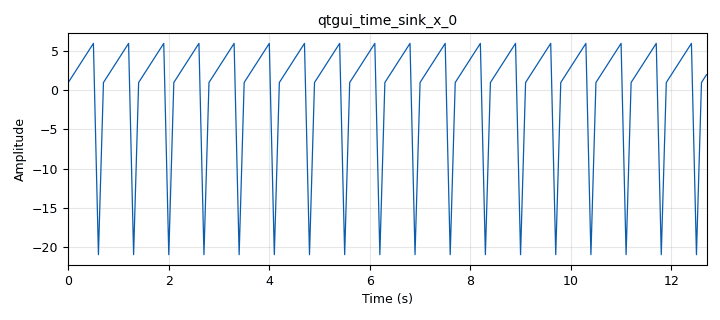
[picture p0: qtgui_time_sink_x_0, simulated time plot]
options:
  parameters:
    generate_options: qt_gui
    id: test1
    output_language: python
    title: Not titled yet
  states: {}

blocks:
- name: samp_rate
  id: variable
  parameters:
    value: '10'
  states: {}
- name: blocks_throttle_0
  id: blocks_throttle
  parameters:
    samples_per_second: '5'
    type: float
  states: {state: disabled}
- name: blocks_vector_source_x_0
  id: blocks_vector_source_x
  parameters:
    repeat: 'True'
    type: float
    vector: (1.0, 2.0, 4.0, 7.0, 11.0, 16.0, 22.0)
  states: {}
- name: epy_block_0
  id: epy_block
  parameters:
    _source_code: |
      import numpy as np
      from gnuradio import gr

      class blk(gr.sync_block):

          def __init__(self):
              gr.sync_block.__init__(
                  self,
                  name="e_Diff",  # Nombre en GRC
                  in_sig=[np.float32],
                  out_sig=[np.float32]
              )

              # Guardamos la última muestra del bloque anterior
              self.x_anterior = 0.0

          def work(self, input_items, output_items):
              x = input_items[0]      # Señal de entrada
              y = output_items[0]     # Señal diferenciada

              # Diferenciador discreto:
              # y[n] = x[n] - x[n-1]
              y[:] = np.diff(x, prepend=self.x_anterior)

              # Guardamos la última muestra para el siguiente bloque
              self.x_anterior = x[-1]

              return len(y)
  states: {}
- name: qtgui_time_sink_x_0
  id: qtgui_time_sink_x
  parameters:
    autoscale: 'True'
    size: '128'
    srate: samp_rate
    type: float
    update_time: '1'
  states: {}

connections:
- [blocks_vector_source_x_0, '0', blocks_throttle_0, '0']
- [blocks_vector_source_x_0, '0', epy_block_0, '0']
- [epy_block_0, '0', qtgui_time_sink_x_0, '0']

metadata:
  file_format: 1
